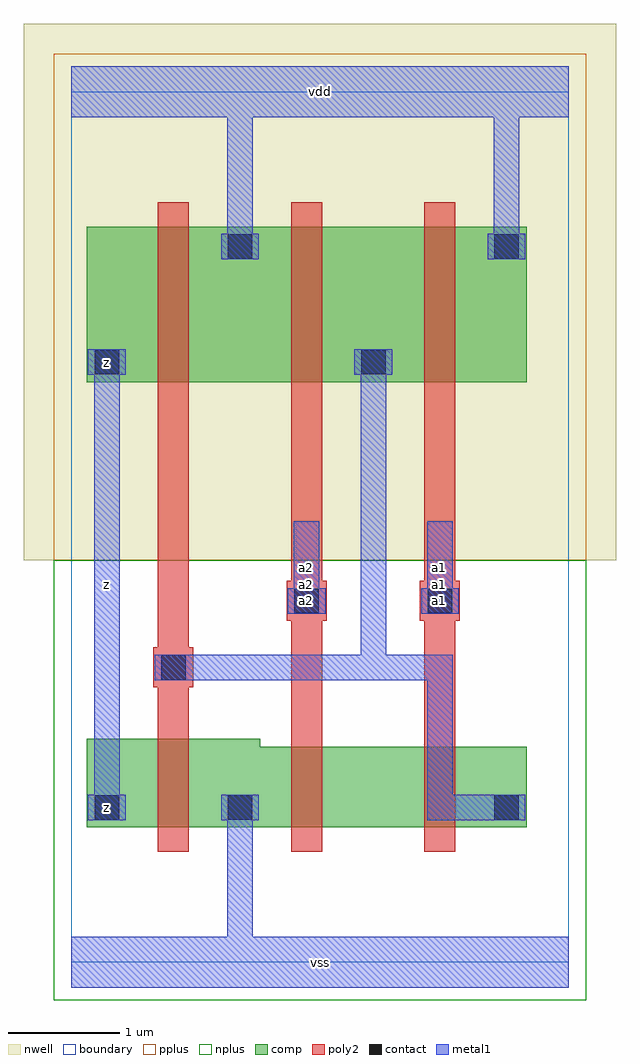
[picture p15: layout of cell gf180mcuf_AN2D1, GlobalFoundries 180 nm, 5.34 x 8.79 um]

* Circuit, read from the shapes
.subckt gf180mcuf_AN2D1 a1 a2 vdd vss z
XM1 vss n1 z VSUBS nfet_03v3 w=0.8u l=0.28u
XM2 n2 a2 vss VSUBS nfet_03v3 w=0.725u l=0.28u
XM3 n1 a1 n2 VSUBS nfet_03v3 w=0.725u l=0.28u
XM4 vdd n1 z n3 pfet_03v3 w=1.4u l=0.28u
XM5 n1 a2 vdd n3 pfet_03v3 w=1.4u l=0.28u
XM6 vdd a1 n1 n3 pfet_03v3 w=1.4u l=0.28u
.ends

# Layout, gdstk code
import gdstk
lib = gdstk.Library(unit=1e-6, precision=1e-09)
def R(c, l, rs):  # rectangles x0, y0, x1, y1
    for r in rs: c.add(gdstk.rectangle(r[:2], r[2:], *l))
def A(c, l, x, y, w, h, nx, ny, dx, dy):  # array of equal rectangles
    R(c, l, [(x+i*dx, y+j*dy, x+i*dx+w, y+j*dy+h) for i in range(nx) for j in range(ny)])
boundary = (0, 0)
nwell = (21, 0)
comp = (22, 0)
poly2 = (30, 0)
pplus = (31, 0)
nplus = (32, 0)
contact = (33, 0)
metal1 = (34, 0)

gf180mcuf_an2d1 = lib.new_cell('gf180mcuf_AN2D1')
R(gf180mcuf_an2d1, boundary, [(0,0,4.48,7.84)])
R(gf180mcuf_an2d1, nwell, [(-0.43,3.62,4.91,8.45)])
A(gf180mcuf_an2d1, comp, 0.14, 5.225, 1.56, 1.4, 3, 1, 1.2, 0)
R(gf180mcuf_an2d1, comp, [(0.14,1.215,1.7,2.015), (0.14,1.215,0.5,1.575), (1.34,1.215,2.9,1.94), (1.34,1.215,1.7,1.575), (2.54,1.215,4.1,1.94), (3.74,1.215,4.1,1.575), (0.14,5.225,0.5,5.585), (2.54,5.225,2.9,5.585), (1.34,6.265,1.7,6.625), (3.74,6.265,4.1,6.625)])
A(gf180mcuf_an2d1, poly2, 0.78, 5.005, 0.28, 1.84, 3, 1, 1.2, 0)
R(gf180mcuf_an2d1, poly2, [(0.78,0.995,1.06,2.235), (1.98,0.995,2.26,2.16), (3.18,0.995,3.46,2.16), (0.78,1.255,1.06,2.795), (1.98,1.255,2.26,5.545), (3.18,1.255,3.46,5.545), (0.74,2.475,1.1,2.835), (0.78,2.515,1.06,5.545), (1.94,3.075,2.3,3.435), (3.14,3.075,3.5,3.435)])
R(gf180mcuf_an2d1, pplus, [(-0.16,3.62,4.64,7.5), (-0.16,7.5,4.64,8.18)])
R(gf180mcuf_an2d1, nplus, [(-0.16,-0.34,4.64,0.34), (-0.16,0.34,4.64,3.62)])
R(gf180mcuf_an2d1, contact, [(0.21,1.285,0.43,1.505), (1.41,1.285,1.63,1.505), (3.81,1.285,4.03,1.505), (0.81,2.545,1.03,2.765), (2.01,3.145,2.23,3.365), (3.21,3.145,3.43,3.365), (0.21,5.295,0.43,5.515), (2.61,5.295,2.83,5.515), (1.41,6.335,1.63,6.555), (3.81,6.335,4.03,6.555)])
R(gf180mcuf_an2d1, metal1, [(0,-0.23,4.48,0.23), (1.405,0.065,1.635,1.51), (0.15,1.28,0.49,1.51), (0.205,1.28,0.435,5.52), (1.35,1.28,1.69,1.51), (3.205,1.28,4.035,1.51), (3.205,1.28,3.435,2.77), (3.75,1.28,4.09,1.51), (0.75,2.54,1.09,2.77), (0.805,2.54,3.435,2.77), (2.605,2.54,2.835,5.52), (1.95,3.14,2.29,3.37), (2.005,3.14,2.235,3.97), (3.15,3.14,3.49,3.37), (3.205,3.14,3.435,3.97), (0.15,5.29,0.49,5.52), (2.55,5.29,2.89,5.52), (1.35,6.33,1.69,6.56), (1.405,6.33,1.635,7.775), (3.75,6.33,4.09,6.56), (3.805,6.33,4.035,7.775), (0,7.61,4.48,8.07)])
gf180mcuf_an2d1.add(gdstk.FlexPath([(0.14,0.575),(4.1,0.575)], 0, ends="flush", simple_path=True, layer=0, datatype=0))  # boundary
gf180mcuf_an2d1.add(gdstk.FlexPath([(0.14,1.395),(4.1,1.395)], 0, ends="flush", simple_path=True, layer=0, datatype=0))  # boundary
gf180mcuf_an2d1.add(gdstk.FlexPath([(0.14,2.655),(4.1,2.655)], 0, ends="flush", simple_path=True, layer=0, datatype=0))  # boundary
gf180mcuf_an2d1.add(gdstk.FlexPath([(0.14,3.255),(4.1,3.255)], 0, ends="flush", simple_path=True, layer=0, datatype=0))  # boundary
gf180mcuf_an2d1.add(gdstk.FlexPath([(0.14,3.855),(4.1,3.855)], 0, ends="flush", simple_path=True, layer=0, datatype=0))  # boundary
gf180mcuf_an2d1.add(gdstk.FlexPath([(0.14,4.455),(4.1,4.455)], 0, ends="flush", simple_path=True, layer=0, datatype=0))  # boundary
gf180mcuf_an2d1.add(gdstk.FlexPath([(0.14,5.405),(4.1,5.405)], 0, ends="flush", simple_path=True, layer=0, datatype=0))  # boundary
gf180mcuf_an2d1.add(gdstk.FlexPath([(0.14,6.445),(4.1,6.445)], 0, ends="flush", simple_path=True, layer=0, datatype=0))  # boundary
gf180mcuf_an2d1.add(gdstk.FlexPath([(0.14,7.265),(4.1,7.265)], 0, ends="flush", simple_path=True, layer=0, datatype=0))  # boundary
gf180mcuf_an2d1.add(gdstk.FlexPath([(0.32,0.065),(0.32,7.775)], 0, ends="flush", simple_path=True, layer=0, datatype=0))  # boundary
gf180mcuf_an2d1.add(gdstk.FlexPath([(0.92,0.065),(0.92,7.775)], 0, ends="flush", simple_path=True, layer=0, datatype=0))  # boundary
gf180mcuf_an2d1.add(gdstk.FlexPath([(1.52,0.065),(1.52,7.775)], 0, ends="flush", simple_path=True, layer=0, datatype=0))  # boundary
gf180mcuf_an2d1.add(gdstk.FlexPath([(2.12,0.065),(2.12,7.775)], 0, ends="flush", simple_path=True, layer=0, datatype=0))  # boundary
gf180mcuf_an2d1.add(gdstk.FlexPath([(2.72,0.065),(2.72,7.775)], 0, ends="flush", simple_path=True, layer=0, datatype=0))  # boundary
gf180mcuf_an2d1.add(gdstk.FlexPath([(3.32,0.065),(3.32,7.775)], 0, ends="flush", simple_path=True, layer=0, datatype=0))  # boundary
gf180mcuf_an2d1.add(gdstk.FlexPath([(3.92,0.065),(3.92,7.775)], 0, ends="flush", simple_path=True, layer=0, datatype=0))  # boundary
gf180mcuf_an2d1.add(gdstk.Label('z', (0.32,1.395), layer=22, texttype=0))
gf180mcuf_an2d1.add(gdstk.Label('z', (0.32,5.405), layer=22, texttype=0))
gf180mcuf_an2d1.add(gdstk.Label('a1', (3.32,3.4), layer=30, texttype=0))
gf180mcuf_an2d1.add(gdstk.Label('a1', (3.32,3.255), layer=30, texttype=0))
gf180mcuf_an2d1.add(gdstk.Label('a2', (2.12,3.4), layer=30, texttype=0))
gf180mcuf_an2d1.add(gdstk.Label('a2', (2.12,3.255), layer=30, texttype=0))
gf180mcuf_an2d1.add(gdstk.Label('a1', (3.32,3.255), layer=33, texttype=0))
gf180mcuf_an2d1.add(gdstk.Label('z', (0.32,1.395), layer=33, texttype=0))
gf180mcuf_an2d1.add(gdstk.Label('z', (0.32,5.405), layer=33, texttype=0))
gf180mcuf_an2d1.add(gdstk.Label('a2', (2.12,3.255), layer=33, texttype=0))
gf180mcuf_an2d1.add(gdstk.Label('a1', (3.32,3.255), layer=34, texttype=10))
gf180mcuf_an2d1.add(gdstk.Label('a1', (3.32,3.555), layer=34, texttype=10))
gf180mcuf_an2d1.add(gdstk.Label('z', (0.32,1.395), layer=34, texttype=10))
gf180mcuf_an2d1.add(gdstk.Label('z', (0.32,5.405), layer=34, texttype=10))
gf180mcuf_an2d1.add(gdstk.Label('z', (0.32,3.4), layer=34, texttype=10))
gf180mcuf_an2d1.add(gdstk.Label('a2', (2.12,3.255), layer=34, texttype=10))
gf180mcuf_an2d1.add(gdstk.Label('a2', (2.12,3.555), layer=34, texttype=10))
gf180mcuf_an2d1.add(gdstk.Label('vss', (2.24,0), layer=34, texttype=10))
gf180mcuf_an2d1.add(gdstk.Label('vdd', (2.24,7.84), layer=34, texttype=10))

lib.write_gds('gf180mcuf_AN2D1.gds')
